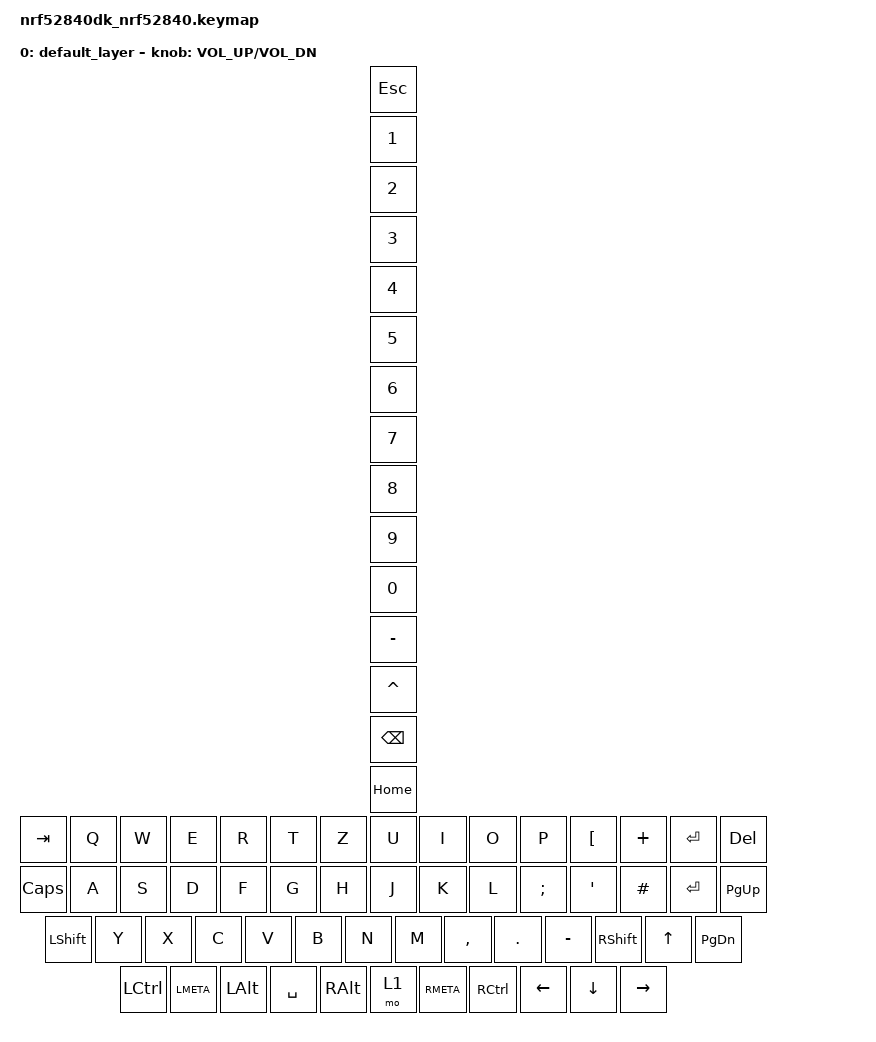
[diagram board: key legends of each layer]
#include <behaviors.dtsi>
#include <dt-bindings/zmk/keys.h>
#include <dt-bindings/zmk/bt.h>
#include <dt-bindings/zmk/rgb.h>
#include <dt-bindings/zmk/backlight.h>


/ {
  chosen {
    zmk,kscan = &kscan0;
  };

  kscan0: kscan {
      compatible = "zmk,kscan-gpio-matrix";
      wakeup-source;
      diode-direction = "col2row";
      col-gpios
          = <&gpio0 14 GPIO_ACTIVE_HIGH>
          , <&gpio0 13 GPIO_ACTIVE_HIGH>
          , <&gpio0 12 GPIO_ACTIVE_HIGH>
          , <&gpio0 11 GPIO_ACTIVE_HIGH>
          , <&gpio0 10 GPIO_ACTIVE_HIGH>
          , <&gpio0 9 GPIO_ACTIVE_HIGH>
          , <&gpio0 8 GPIO_ACTIVE_HIGH>
          , <&gpio0 7 GPIO_ACTIVE_HIGH>
          , <&gpio0 38 GPIO_ACTIVE_HIGH>
          , <&gpio0 37 GPIO_ACTIVE_HIGH>
          , <&gpio0 39 GPIO_ACTIVE_HIGH>
          , <&gpio0 6 GPIO_ACTIVE_HIGH>
          , <&gpio0 5 GPIO_ACTIVE_HIGH>
          , <&gpio0 4 GPIO_ACTIVE_HIGH>
          , <&gpio0 3 GPIO_ACTIVE_HIGH>
          ;
      row-gpios
          = <&gpio0 45 (GPIO_ACTIVE_HIGH | GPIO_PULL_DOWN)>
          , <&gpio0 44 (GPIO_ACTIVE_HIGH | GPIO_PULL_DOWN)>
          , <&gpio0 43 (GPIO_ACTIVE_HIGH | GPIO_PULL_DOWN)>
          , <&gpio0 42 (GPIO_ACTIVE_HIGH | GPIO_PULL_DOWN)>
          , <&gpio0 41 (GPIO_ACTIVE_HIGH | GPIO_PULL_DOWN)>
          ;
  };

  keymap {
    compatible = "zmk,keymap";
    default_layer {
      bindings = <
        &kp ESC
        &kp N1
        &kp N2
        &kp N3
        &kp N4
        &kp N5
        &kp N6
        &kp N7
        &kp  N8
        &kp  N9
        &kp N0
        &kp MINUS
        &kp CARET
        &kp BSPC
        &kp HOME
        &kp TAB   &kp Q  &kp W  &kp E  &kp R  &kp T  &kp Z  &kp U  &kp  I    &kp  O  &kp  P &kp LEFT_BRACKET &kp PLUS &kp ENTER &kp DEL
        &kp CLCK &kp A  &kp S  &kp D  &kp F  &kp G  &kp H  &kp J  &kp  K    &kp  L &kp SEMICOLON &kp SINGLE_QUOTE &kp HASH &kp RET &kp PG_UP
        &kp LSHFT     &kp Y  &kp X  &kp C  &kp V  &kp B  &kp N  &kp M  &kp COMMA &kp DOT &kp MINUS   &kp RSHFT   &kp UP &kp PG_DN
        &kp LCTRL &kp LMETA &kp LALT            &kp SPACE                   &kp RALT  &mo 1 &kp RMETA &kp RCTRL &kp LEFT &kp DOWN &kp RIGHT
      >;
      sensor-bindings = <&inc_dec_kp C_VOL_UP C_VOL_DN>;
    };
  };
};
